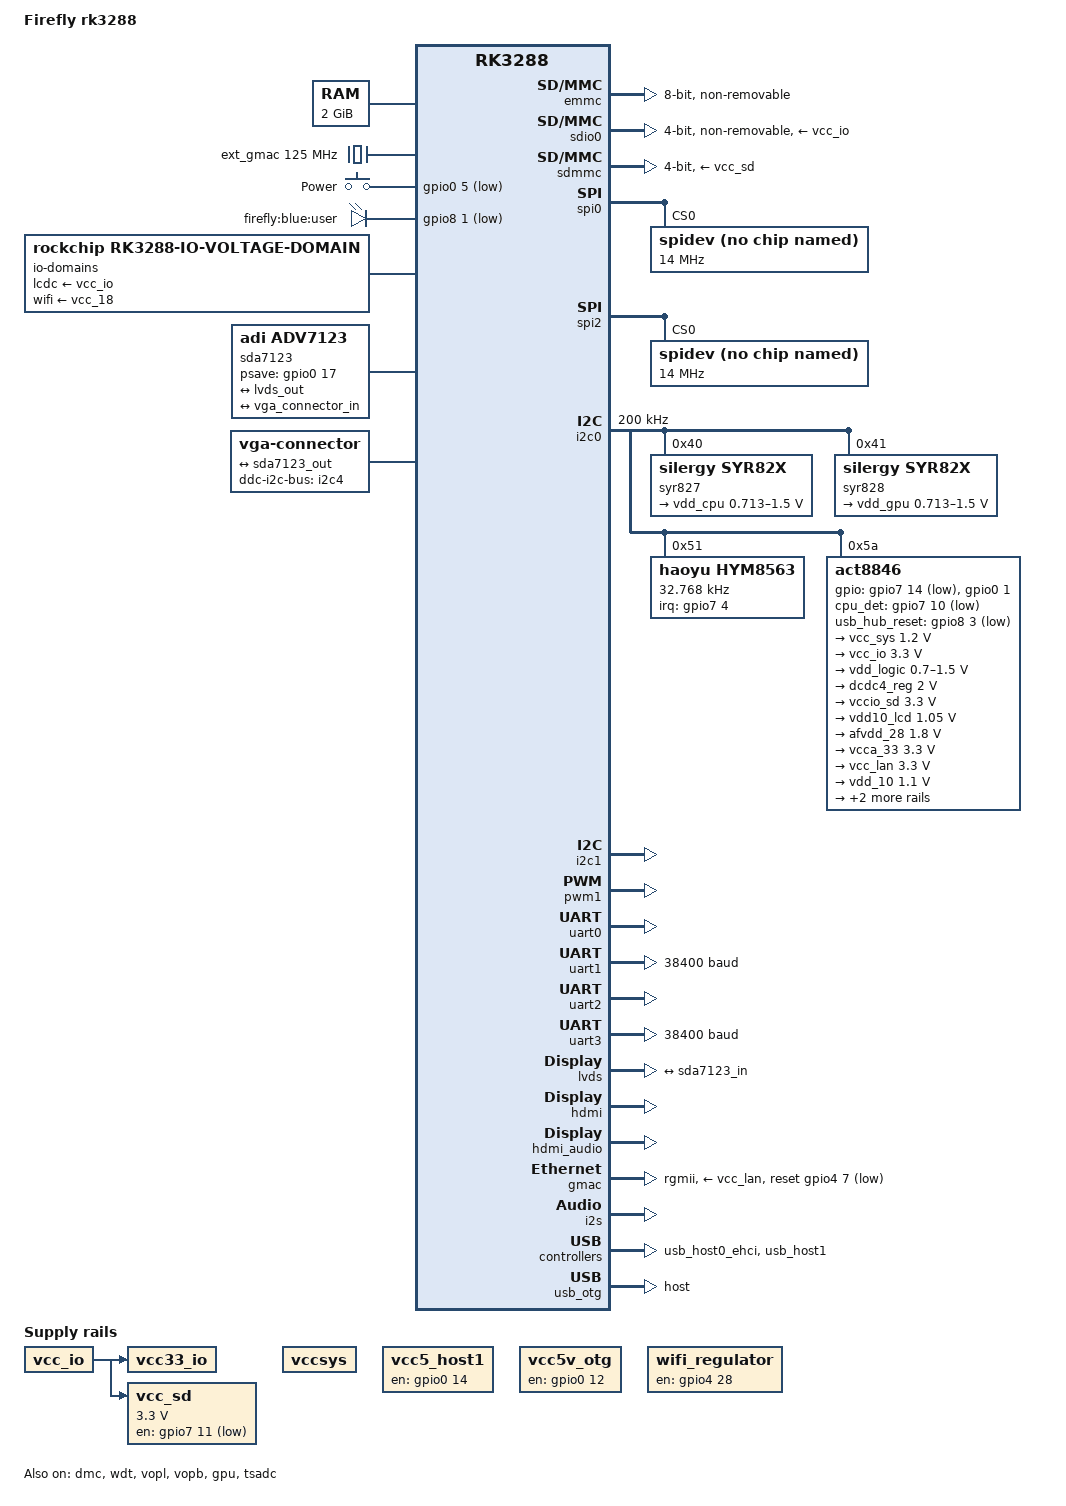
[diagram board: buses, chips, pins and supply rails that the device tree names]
/*
 * This program is free software; you can redistribute it and/or modify
 * it under the terms of the GNU General Public License as published by
 * the Free Software Foundation; either version 2 of the License, or
 * (at your option) any later version.
 *
 * This program is distributed in the hope that it will be useful,
 * but WITHOUT ANY WARRANTY; without even the implied warranty of
 * MERCHANTABILITY or FITNESS FOR A PARTICULAR PURPOSE.  See the
 * GNU General Public License for more details.
 */

/dts-v1/;
#include <dt-bindings/clock/rockchip,rk808.h>
#include <dt-bindings/input/input.h>
#include "rk3288.dtsi"

/ {
	model = "Firefly rk3288";
	compatible = "google,Firefly-rk3288", "rockchip,rk3288";

	memory {
		reg = <0x0 0x80000000>;
	};

	ext_gmac: external-gmac-clock {
                compatible = "fixed-clock";
                clock-frequency = <125000000>;
                clock-output-names = "ext_gmac";
                #clock-cells = <0>;
        };
/*
	backlight: backlight {
		compatible = "pwm-backlight";
		brightness-levels = <
			  0   1   2   3   4   5   6   7
			  8   9  10  11  12  13  14  15
			 16  17  18  19  20  21  22  23
			 24  25  26  27  28  29  30  31
			 32  33  34  35  36  37  38  39
			 40  41  42  43  44  45  46  47
			 48  49  50  51  52  53  54  55
			 56  57  58  59  60  61  62  63
			 64  65  66  67  68  69  70  71
			 72  73  74  75  76  77  78  79
			 80  81  82  83  84  85  86  87
			 88  89  90  91  92  93  94  95
			 96  97  98  99 100 101 102 103
			104 105 106 107 108 109 110 111
			112 113 114 115 116 117 118 119
			120 121 122 123 124 125 126 127
			128 129 130 131 132 133 134 135
			136 137 138 139 140 141 142 143
			144 145 146 147 148 149 150 151
			152 153 154 155 156 157 158 159
			160 161 162 163 164 165 166 167
			168 169 170 171 172 173 174 175
			176 177 178 179 180 181 182 183
			184 185 186 187 188 189 190 191
			192 193 194 195 196 197 198 199
			200 201 202 203 204 205 206 207
			208 209 210 211 212 213 214 215
			216 217 218 219 220 221 222 223
			224 225 226 227 228 229 230 231
			232 233 234 235 236 237 238 239
			240 241 242 243 244 245 246 247
			248 249 250 251 252 253 254 255>;
		default-brightness-level = <128>;
		enable-gpios = <&gpio7 2 GPIO_ACTIVE_HIGH>;
		pinctrl-names = "default";
		pinctrl-0 = <&bl_en>;
		pwms = <&pwm0 0 1000000 0>;
	};

    panel: panel {
		compatible = "rockchip,vga", "simple-panel";
		status = "okay";
		enable-gpios = <&gpio7 21 GPIO_ACTIVE_HIGH>;
		ddc-i2c-bus = <&i2c2>;
		backlight = <&backlight>; 
	};
*/
	gpio-keys {
		compatible = "gpio-keys";
		#address-cells = <1>;
		#size-cells = <0>;
		autorepeat;
		status = "okay";

		pinctrl-names = "default";
		pinctrl-0 = <&pwr_key_h>;
		power {
			label = "Power";
			gpios = <&gpio0 5 GPIO_ACTIVE_LOW>;
			linux,code = <KEY_POWER>;
			debounce-interval = <100>;
			gpio-key,wakeup;
        };
	};
	
	leds {
	    compatible = "gpio-leds";
	    work {
	        gpios = <&gpio8 1 GPIO_ACTIVE_LOW>;
	        label = "firefly:blue:user";
	        linux,default-trigger = "default-on";
	        pinctrl-names = "default";
	        pinctrl-0 = <&work_led>;
		 };
	};

	/* A non-regulated voltage from power supply or battery */
	vccsys: vccsys {
		compatible = "regulator-fixed";
		regulator-name = "vccsys";
		regulator-boot-on;
		regulator-always-on;
	};


	/*
	 * Note that vcc33_io comes from vcc33_sys (as we've modeled here )but
	 * goes through a discreet FET.  The enable line for the FET is
	 * vcc33_pmuio.  That means (ignoring noise, efficiency, and maximum
	 * current considerations) that vcc33_io is really (vcc33_sys &&
	 * vcc33_pmuio).  Note that we currently consider both both of these
	 * always_on from the point of view of the AP (they may turn off in S3
	 * or S5).
	 *
	 * I'm not quite sure how to model that, but since everything is
	 * always_on and the voltages aren't changing we'll just ingore the
	 * enable line.
	 */
	vcc33_io: vcc33-io {
		compatible = "regulator-fixed";
		regulator-name = "vcc33_io";
		regulator-always-on;
		regulator-boot-on;
		vin-supply = <&vcc_io>;
	};

	/* This turns on vbus for host1 (dwc2) */
	vcc5_host1: vcc5-host1-regulator {
		compatible = "regulator-fixed";
		enable-active-high;
		pinctrl-names = "default";
		pinctrl-0 = <&host1_pwr_en>;
		gpio = <&gpio0 14 GPIO_ACTIVE_HIGH>;
		regulator-name = "vcc5_host1";
		regulator-always-on;
		regulator-boot-on;
	};

	/* This turns on vbus for otg for host mode (dwc2) */
	vcc5v_otg: vcc5v-otg-regulator {
		compatible = "regulator-fixed";
		enable-active-high;
		pinctrl-names = "default";
		pinctrl-0 = <&usbotg_pwren_h>;
		gpio = <&gpio0 12 GPIO_ACTIVE_HIGH>;
		regulator-name = "vcc5_host2";
		regulator-always-on;
		regulator-boot-on;
	};

    vcc_sd: sdmmc-regulator {
		compatible = "regulator-fixed";
		pinctrl-names = "default";
		pinctrl-0 = <&sdmmc_power_gpio>;
		gpio = <&gpio7 11 GPIO_ACTIVE_LOW>;
		regulator-name = "sdmmc_pwr";
		regulator-min-microvolt = <3300000>;
		regulator-max-microvolt = <3300000>;
		regulator-always-on;
		regulator-boot-on;
		vin-supply = <&vcc_io>;
	};

	wifi_regulator: wifi-regulator {
		compatible = "regulator-fixed";
		enable-active-high;
		gpio = <&gpio4 28 GPIO_ACTIVE_HIGH>;
		pinctrl-names = "default";
		pinctrl-0 = <&wifi_enable_h>;
		regulator-name = "wifi_regulator";
	};

	io-domains {
                compatible = "rockchip,rk3288-io-voltage-domain";
                rockchip,grf = <&grf>;

                lcdc-supply = <&vcc_io>;
                wifi-supply = <&vcc_18>;
    };
/*
  	sound {
		compatible = "rockchip,rockchip-audio-es8323";
		rockchip,model = "ROCKCHIP-I2S";
		rockchip,i2s-controller = <&i2s>;
		rockchip,audio-codec = <&es8323>;
		status = "okay";
	};
*/	
	sda7123: vga-encoder {
		compatible = "adi,adv7123";
		psave-gpios = <&gpio0 17 GPIO_ACTIVE_HIGH>;
        //status="disabled";

		ports {
			#address-cells = <1>;
			#size-cells = <0>;

			port@0 {
				reg = <0>;

				#address-cells = <1>;
				#size-cells = <0>;

				sda7123_in: endpoint@0 {
					remote-endpoint = <&lvds_out>;
				};
			};

			port@1 {
				reg = <1>;

				#address-cells = <1>;
				#size-cells = <0>;

				sda7123_out: endpoint@0 {
					remote-endpoint = <&vga_connector_in>;
				};
			};
		};
	};

	vga: vga-connector {
		compatible = "vga-connector";
		label = "vga";

		ddc-i2c-bus = <&i2c4>;

		port {
			vga_connector_in: endpoint {
				remote-endpoint = <&sda7123_out>;
			};
		};
	};	
};

&cpu0 {
	cpu0-supply = <&vdd_cpu>;
/*
	operating-points = <
		/* KHz    uV */
/*		1800000 1300000
		1608000 1200000
		1416000 1150000
		1200000 1100000
		1008000 1050000
		 816000 1000000
		 600000  900000
		 408000  850000
		 216000  850000
		 126000  850000  
	>;*/
};

&dmc {
	status = "okay";
	logic-supply = <&vdd_logic>;
	rockchip,dll-disable-freq = <333000000>;
	rockchip,sr-enable-freq = <333000000>;
	rockchip,auto-self-refresh-cnt = <0>;
	rockchip,auto-power-down-cnt = <64>;
	rockchip,ddr-speed-bin = <21>;
	rockchip,trcd = <10>;
	rockchip,trp = <10>;
	rockchip,odt-disable-freq = <666000000>;
	rockchip,pd-enable-freq = <333000000>;
	operating-points = <
		/* KHz    uV */
		200000 1050000
		333000 1100000
		533000 1150000
	>;
};

&emmc {
	broken-cd;
	bus-width = <8>;
	cap-mmc-highspeed;
	disable-wp;
	non-removable;
	num-slots = <1>;
	pinctrl-names = "default";
	pinctrl-0 = <&emmc_clk &emmc_cmd &emmc_bus8 &emmc_deassert_reset>;
	status = "okay";
};

&sdio0 {
	broken-cd;
	bus-width = <4>;
	cap-sd-highspeed;
	card-external-vcc-supply = <&wifi_regulator>;
	clocks = <&cru HCLK_SDIO0>, <&cru SCLK_SDIO0>;
	clock-names = "biu", "ciu", "card_ext_clock";
	keep-power-in-suspend;
	non-removable;
	num-slots = <1>;
	pinctrl-names = "default";
	pinctrl-0 = <&sdio0_clk &sdio0_cmd &sdio0_bus4>;
	status = "okay";
	vmmc-supply = <&vcc_io>;
	vqmmc-supply = <&vcc_18>;
};


&sdmmc {
	bus-width = <4>;
	cap-mmc-highspeed;
	cap-sd-highspeed;
	card-detect-delay = <200>;
	disable-wp;			/* wp not hooked up */
	num-slots = <1>;
	pinctrl-names = "default";
	pinctrl-0 = <&sdmmc_clk &sdmmc_cmd &sdmmc_cd &sdmmc_bus4>;
	status = "okay";
	vmmc-supply = <&vcc_sd>;
	vqmmc-supply = <&vccio_sd>;
};

&spi0 {
	status = "okay";
	spidev@00{
	   compatible = "spidev";
	   reg = <0x00>;
	   spi-max-frequency = <14000000>;
	   spi-cpha = <1>;
	};
};

&spi1 {
	status = "disabled";
	spidev@00{
	   compatible = "spidev";
	   reg = <0x00>;
	   spi-max-frequency = <14000000>;
	   spi-cpha = <1>;
	};
};

&spi2 {
	status = "okay";
	spidev@00{
	   compatible = "spidev";
	   reg = <0x00>;
	   spi-max-frequency = <14000000>;
	   spi-cpha = <1>;
	};
};

&i2c0 {
	clock-frequency = <200000>;
	status = "okay";

    syr827: syr827@40 {
        compatible = "silergy,syr82x";
        reg = <0x40>;
            status = "okay";
            regulators {
                #address-cells = <1>;
                #size-cells = <0>;
                vdd_cpu: regulator@0 {
                    reg = <0>;
                    regulator-compatible = "syr82x_dcdc1";
                    regulator-name = "vdd_arm";
                    regulator-min-microvolt = <712500>;
                    regulator-max-microvolt = <1500000>;
                    regulator-always-on;
                    regulator-boot-on;
                    regulator-initial-mode = <0x2>;
                    regulator-initial-state = <3>;
                    regulator-state-mem {
                        regulator-state-mode = <0x2>;
                        regulator-state-enabled;
                        regulator-state-uv = <900000>;
                    };
                };
            };
	};

	syr828: syr828@41 {
		compatible = "silergy,syr82x";
		reg = <0x41>;
		status = "okay";
		regulators {
			#address-cells = <1>;
			#size-cells = <0>;
			vdd_gpu: regulator@0 {
                reg = <0>;
                regulator-compatible = "syr82x_dcdc1";
                regulator-name = "vdd_gpu";
                regulator-min-microvolt = <712500>;
                regulator-max-microvolt = <1500000>;
                regulator-always-on;
                regulator-boot-on;
                regulator-initial-mode = <0x2>;
                regulator-initial-state = <3>;
                regulator-state-mem {
                    regulator-state-mode = <0x2>;
                    regulator-state-disabled;
                    regulator-state-uv = <900000>;
                };
            };
	   };
	};
    hym8563: hym8563@51 {
        compatible = "haoyu,hym8563";
        reg = <0x51>;
        #clock-cells = <0>;
        clock-frequency = <32768>;
        clock-output-names = "xin32k";
        interrupt-parent = <&gpio7>;
        interrupts = <4 IRQ_TYPE_EDGE_FALLING>;
        pinctrl-names = "default";
        pinctrl-0 = <&rtc_int>;
    };

	act8846: act8846@5a {
		reg = <0x5a>;
		status = "okay";
	};
};

/include/ "act8846.dtsi"
&act8846 {
	gpios =<&gpio7 14 GPIO_ACTIVE_LOW>,<&gpio0 1 GPIO_ACTIVE_HIGH>;
	cpu_det_gpio =<&gpio7 10 GPIO_ACTIVE_LOW>;
	usb_hub_reset_gpio =<&gpio8 3 GPIO_ACTIVE_LOW>;
	act8846,system-power-controller;

	regulators {

		vcc_sys: regulator@0{
			regulator-name= "vcc_sys";
			regulator-min-microvolt = <1200000>;
			regulator-max-microvolt = <1200000>;
			regulator-always-on;
			regulator-boot-on;
		};

		vcc_io: regulator@1 {
			regulator-name= "vcc_io";
			regulator-min-microvolt = <3300000>;
			regulator-max-microvolt = <3300000>;
			regulator-initial-state = <3>;
			regulator-always-on;
			regulator-state-mem {
				regulator-state-enabled;
				regulator-state-uv = <3300000>;
			};
		};

		vdd_logic: regulator@2 {
			regulator-name= "vdd_logic";
			regulator-min-microvolt = <700000>;
			regulator-max-microvolt = <1500000>;
			regulator-initial-state = <3>;
			regulator-always-on;
			regulator-state-mem {
				regulator-state-enabled;
				regulator-state-uv = <1200000>;
			};

		};

		dcdc4_reg: regulator@3 {
			regulator-name= "act_dcdc4";
			regulator-min-microvolt = <2000000>;
			regulator-max-microvolt = <2000000>;
			regulator-initial-state = <3>;
			regulator-always-on;
			regulator-state-mem {
				regulator-state-enabled;
				regulator-state-uv = <2000000>;
			};
		};

		vccio_sd: regulator@4 {
			regulator-name= "vccio_sd";
			regulator-min-microvolt = <3300000>;
			regulator-max-microvolt = <3300000>;
			regulator-always-on;

		};

		vdd10_lcd: regulator@5 {
			regulator-name= "vdd10_lcd";   //vdd10_lcd
			regulator-min-microvolt = <1050000>;
			regulator-max-microvolt = <1050000>;
			regulator-always-on;
		};

		afvdd_28: regulator@6 {
			regulator-name= "afvdd_28";     //afvdd2v8   for cif camera
			regulator-min-microvolt = <1800000>;
			regulator-max-microvolt = <1800000>;
			
		};

		vcca_33:regulator@7 {
			regulator-name= "vcca_33";    //vcca_33
			regulator-min-microvolt = <3300000>;
			regulator-max-microvolt = <3300000>;
			regulator-always-on;
		};

		vcc_lan: regulator@8 {
			regulator-name= "vcc_lan";   //vcc_lan
			regulator-min-microvolt = <3300000>;
			regulator-max-microvolt = <3300000>;

		};

		vdd_10: regulator@9 {          //vdd_10
			regulator-name= "vdd_10";
			regulator-min-microvolt = <1100000>;
			regulator-max-microvolt = <1100000>;
			regulator-initial-state = <3>;
			regulator-always-on;
			regulator-state-mem {
				regulator-state-enabled;
			};

		};

		//ldo7_reg: regulator@10 {
		vcc_18: regulator@10 {
			regulator-name= "vcc_18";      //vcc_18
			regulator-min-microvolt = <1800000>;
			regulator-max-microvolt = <1800000>;
			regulator-initial-state = <3>;
			regulator-always-on;
			regulator-state-mem {
				regulator-state-enabled;
			};

		};

		vcc18_lcd: regulator@11 {
			regulator-name= "vcc18_lcd";
			regulator-min-microvolt = <1850000>;
			regulator-max-microvolt = <1850000>;
			regulator-always-on;
		};
	};
};

&cru{
	assigned-clocks = <&cru DCLK_VOP0>, <&cru DCLK_VOP1>,
			  <&cru PLL_GPLL>, <&cru PLL_CPLL>,
			  <&cru PLL_NPLL>, <&cru ACLK_CPU>,
			  <&cru HCLK_CPU>, <&cru PCLK_CPU>,
			  <&cru ACLK_PERI>, <&cru HCLK_PERI>,
			  <&cru PCLK_PERI>;
	assigned-clock-rates = <0>, <0>,
			       <594000000>, <400000000>,
			       <532500000>, <300000000>,
			       <150000000>, <75000000>,
			       <300000000>, <150000000>,
			       <75000000>;
	assigned-clock-parents = <&cru PLL_NPLL>, <&cru PLL_NPLL>;
};


&i2c1 {
	status = "okay";
};

&i2c2 {
	status = "disabled";
};

&i2c3 {
	status = "disabled";
};

&i2c4 {
	status = "disabled";
};

&i2c5 {
	status = "disabled";
};

&wdt {
	status = "okay";
};


&pwm1 {
	status = "okay";
};

&uart0 {
	status = "okay";
};

&uart1 {
	status = "okay";
    current-speed = <38400>;
};

&uart2 {
	status = "okay";
};

&uart3 {
	status = "okay";
    current-speed = <38400>;
};

&lvds {
	avdd1v0-supply = <&vdd10_lcd>;
	avdd1v8-supply = <&vcc18_lcd>;
	avdd3v3-supply = <&vcca_33>;
	rockchip,data-mapping = "jeida";
	rockchip,data-width = <24>;
	rockchip,output = "rgb";
    //status="disabled";
	status = "okay";

	ports {
		port@1 {
			reg = <1>;

			#address-cells = <1>;
			#size-cells = <0>;

			lvds_out: endpoint@0 {
				remote-endpoint = <&sda7123_in>;
			};
		};
	};
};
/*
&edp {
    status = "disabled";
    rockchip,panel = <&panel>;
};
*/

&vopl {
	status = "okay";
};

&vopl_mmu {
	status = "okay";
};

&vopb {
	status = "okay";
};

&vopb_mmu {
	status = "okay";
};

&gpu {
	mali-supply = <&vdd_gpu>;
	status = "okay";
};

&hdmi {
	status = "okay";
};

&hdmi_audio {
	status = "okay";
};

&gmac {
        phy-supply = <&vcc_lan>;
        phy-mode = "rgmii";
        clock_in_out = "input";
        snps,reset-gpio = <&gpio4 7 0>;
        snps,reset-active-low;
        snps,reset-delays-us = <0 10000 1000000>;
        assigned-clocks = <&cru SCLK_MAC>;
        assigned-clock-parents = <&ext_gmac>;
        pinctrl-names = "default";
        pinctrl-0 = <&rgmii_pins>;
        tx_delay = <0x30>;
        rx_delay = <0x10>;
        status = "okay";
};

&i2s {
	status = "okay";
	assigned-clock-parents = <&cru SCLK_I2S0>;
	assigned-clocks = <&cru SCLK_I2S0>, <&cru SCLK_I2S0_OUT>;
	clock-names = "i2s_hclk", "i2s_clk", "i2s_clk_out";
	clocks = <&cru HCLK_I2S0>, <&cru SCLK_I2S0>, <&cru SCLK_I2S0_OUT>;
};

&pinctrl {

	/* Add this for sdmmc pins to SD card */
	pcfg_pull_none_drv_8ma: pcfg-pull-none-drv-8ma {
		drive-strength = <8>;
	};

	pcfg_pull_up_drv_8ma: pcfg-pull-up-drv-8ma {
		bias-pull-up;
		drive-strength = <8>;
	};

	pcfg_output_high: pcfg-output-high {
		output-high;
	};
	
	buttons {
		pwr_key_h: pwr-key-h {
			rockchip,pins = <0 5 RK_FUNC_GPIO &pcfg_pull_none>;
		};
	};
    
    leds {
	    work_led: work-led {
	        rockchip,pins = <8 1 RK_FUNC_GPIO &pcfg_pull_none>;
	    };
	};
	 
	hym8563 {
	    rtc_int: rtc-int {
	        rockchip,pins = <7 4 RK_FUNC_GPIO &pcfg_pull_up>;
	    };
	};

	emmc {
		/* Make sure eMMC is not in reset */
		emmc_deassert_reset: emmc-deassert-reset {
			rockchip,pins = <8 2 RK_FUNC_GPIO &pcfg_output_high>;
		};
	};

	pmic {
		pmic_int_l: pmic-int-l {
			rockchip,pins = <RK_GPIO0 4 RK_FUNC_GPIO &pcfg_pull_up>;
		};
	};

	sdio0 {
		wifi_enable_h: wifienable-h {
			rockchip,pins = <4 28 RK_FUNC_GPIO &pcfg_pull_none>;
		};
	};

	sdmmc {
		sdmmc_bus4: sdmmc-bus4 {
			rockchip,pins = <6 16 RK_FUNC_1 &pcfg_pull_up_drv_8ma>,
				        <6 17 RK_FUNC_1 &pcfg_pull_up_drv_8ma>,
					<6 18 RK_FUNC_1 &pcfg_pull_up_drv_8ma>,
					<6 19 RK_FUNC_1 &pcfg_pull_up_drv_8ma>;
		};

		sdmmc_clk: sdmmc-clk {
			rockchip,pins = <6 20 RK_FUNC_1 &pcfg_pull_none_drv_8ma>;
		};

		sdmmc_cmd: sdmmc-cmd {
			rockchip,pins = <6 21 RK_FUNC_1 &pcfg_pull_up_drv_8ma>;
		};

		sdmmc_wp_gpio: sdmmc-wp-gpio {
			rockchip,pins = <7 10 RK_FUNC_GPIO &pcfg_pull_up>;
		};

        sdmmc_power_gpio: sdmmc-power-gpio {
			rockchip,pins = <7 11 RK_FUNC_GPIO &pcfg_pull_up>;
        };

	};
	
	usb-host {
		host1_pwr_en: host1-pwr-en {
			rockchip,pins = <0 14 RK_FUNC_GPIO &pcfg_pull_none>;
		};

		usbotg_pwren_h: usbotg-pwren-h {
			rockchip,pins = <0 12 RK_FUNC_GPIO &pcfg_pull_none>,
					<7 3 RK_FUNC_GPIO &pcfg_pull_none>;
		};
	};

	codec {
		spk_con: spk-con {
			rockchip,pins = <0 11 RK_FUNC_GPIO &pcfg_output_high>;
		};
	};
};

&usb_host0_ehci {
	status = "okay";
};

&usb_host1 {
	status = "okay";
};

&usb_otg {
	dr_mode = "host";
	status = "okay";
};

&tsadc {
	status = "okay";
};
